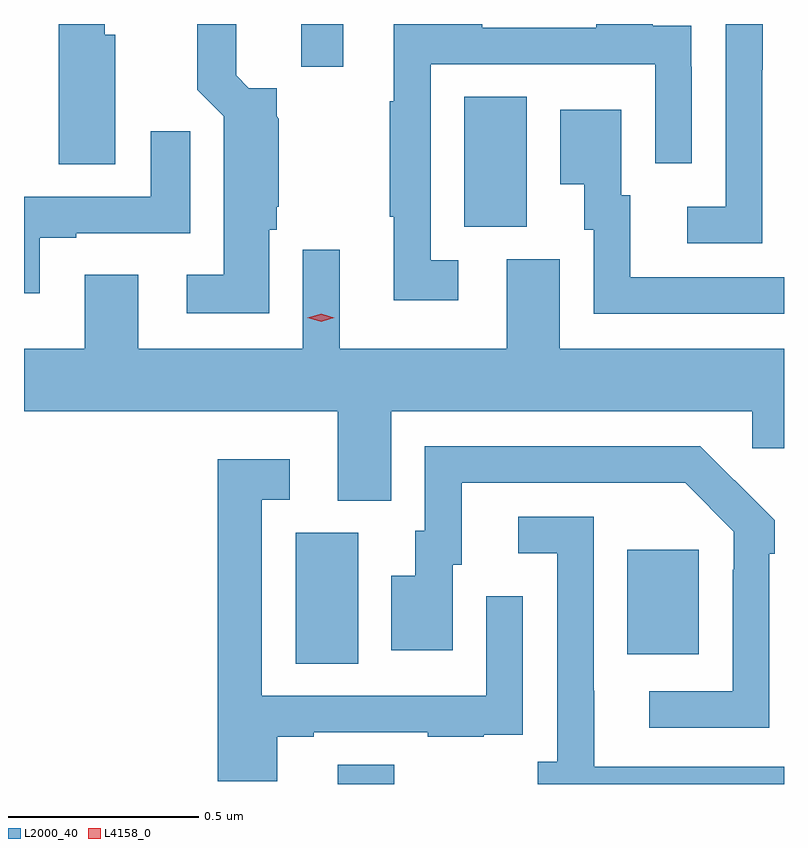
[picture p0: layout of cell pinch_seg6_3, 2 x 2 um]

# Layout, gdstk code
import gdstk
lib = gdstk.Library(unit=1e-6, precision=1e-09)
def R(c, l, rs):  # rectangles x0, y0, x1, y1
    for r in rs: c.add(gdstk.rectangle(r[:2], r[2:], *l))
def P(c, l, *ps):  # polygons
    for p in ps: c.add(gdstk.Polygon(p, *l))
L2000_40 = (2000, 40)
L4158_0 = (4158, 0)

pinch_seg6_3 = lib.new_cell('pinch_seg6_3')
R(pinch_seg6_3, L2000_40, [(1081.403,994.307,1081.551,994.358), (1081.292,994.624,1081.456,994.968), (1082.165,994.649,1082.353,994.924), (1081.736,995.773,1081.9,996.116), (1081.307,996.195,1081.417,996.307)])
P(pinch_seg6_3, L2000_40, [(1081.72,995.685),(1081.647,995.685),(1081.647,996.201),(1082.238,996.201),(1082.238,995.94),(1082.334,995.94),(1082.334,996.194),(1082.333,996.194),(1082.333,996.303),(1082.231,996.303),(1082.231,996.307),(1082.083,996.307),(1082.083,996.297),(1081.783,996.297),(1081.783,996.307),(1081.55,996.307),(1081.55,996.104),(1081.539,996.104),(1081.539,995.8),(1081.55,995.8),(1081.55,995.58),(1081.72,995.58)],
  [(1082.52,996.187),(1082.521,996.187),(1082.521,996.307),(1082.424,996.307),(1082.424,995.826),(1082.322,995.826),(1082.322,995.73),(1082.52,995.73)],
  [(1080.817,996.279),(1080.79,996.279),(1080.79,996.307),(1080.668,996.307),(1080.668,995.938),(1080.817,995.938)],
  [(1081.222,995.766),(1081.242,995.766),(1081.242,995.826),(1081.248,995.826),(1081.248,996.058),(1081.242,996.064),(1081.242,996.138),(1081.168,996.138),(1081.135,996.172),(1081.135,996.307),(1081.033,996.307),(1081.033,996.134),(1081.103,996.064),(1081.103,995.647),(1081.005,995.647),(1081.005,995.546),(1081.222,995.546)],
  [(1082.577,995.64),(1082.173,995.64),(1082.173,995.856),(1082.149,995.856),(1082.149,996.082),(1081.988,996.082),(1081.988,995.885),(1082.051,995.885),(1082.051,995.766),(1082.076,995.766),(1082.076,995.544),(1082.577,995.544)],
  [(1080.619,995.745),(1080.715,995.745),(1080.715,995.757),(1081.015,995.757),(1081.015,996.025),(1080.911,996.025),(1080.911,995.853),(1080.577,995.853),(1080.577,995.598),(1080.619,995.598)],
  [(1081.543,995.288),(1082.493,995.288),(1082.493,995.19),(1082.577,995.19),(1082.577,995.452),(1081.987,995.452),(1081.987,995.688),(1081.847,995.688),(1081.847,995.452),(1081.408,995.452),(1081.408,995.713),(1081.311,995.713),(1081.311,995.452),(1080.877,995.452),(1080.877,995.647),(1080.737,995.647),(1080.737,995.452),(1080.577,995.452),(1080.577,995.288),(1081.403,995.288),(1081.403,995.053),(1081.543,995.053)],
  [(1082.538,994.913),(1082.553,994.913),(1082.553,995.001),(1082.448,995.106),(1082.447,995.105),(1082.356,995.196),(1081.632,995.196),(1081.632,994.974),(1081.607,994.974),(1081.607,994.855),(1081.544,994.855),(1081.544,994.659),(1081.705,994.659),(1081.705,994.884),(1081.729,994.884),(1081.729,995.1),(1082.317,995.1),(1082.445,994.971),(1082.445,994.871),(1082.442,994.871),(1082.442,994.551),(1082.223,994.551),(1082.223,994.455),(1082.538,994.455)],
  [(1081.243,994.431),(1081.339,994.431),(1081.339,994.443),(1081.639,994.443),(1081.639,994.431),(1081.787,994.431),(1081.787,994.437),(1081.889,994.437),(1081.889,994.546),(1081.89,994.546),(1081.89,994.801),(1081.794,994.801),(1081.794,994.539),(1081.203,994.539),(1081.203,995.055),(1081.276,995.055),(1081.276,995.161),(1081.087,995.161),(1081.087,994.314),(1081.243,994.314)],
  [(1082.577,994.353),(1082.077,994.353),(1082.077,994.553),(1082.076,994.553),(1082.076,995.01),(1081.878,995.01),(1081.878,994.914),(1081.98,994.914),(1081.98,994.366),(1081.929,994.366),(1081.929,994.307),(1082.577,994.307)])
P(pinch_seg6_3, L4158_0, [(1081.359,995.524),(1081.323,995.534),(1081.323,995.534),(1081.323,995.534),(1081.359,995.544),(1081.394,995.534),(1081.394,995.534),(1081.394,995.534)])

lib.write_gds('pinch_seg6_3.gds')
